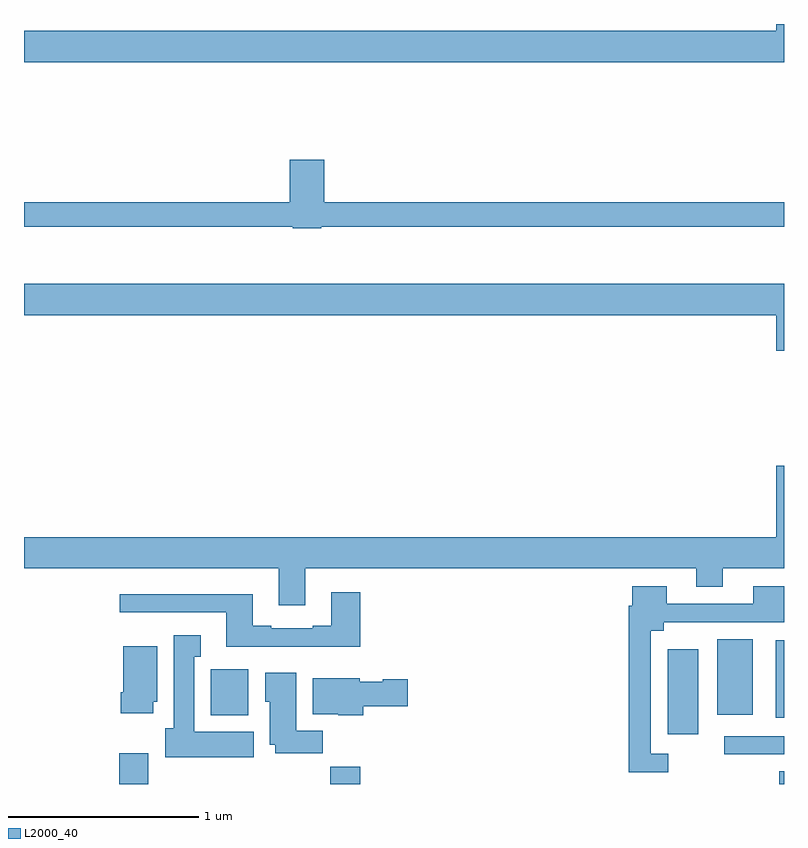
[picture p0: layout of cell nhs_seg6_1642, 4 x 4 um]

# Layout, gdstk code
import gdstk
lib = gdstk.Library(unit=1e-6, precision=1e-09)
def R(c, l, rs):  # rectangles x0, y0, x1, y1
    for r in rs: c.add(gdstk.rectangle(r[:2], r[2:], *l))
def P(c, l, *ps):  # polygons
    for p in ps: c.add(gdstk.Polygon(p, *l))
L2000_40 = (2000, 40)

nhs_seg6_1642 = lib.new_cell('nhs_seg6_1642')
R(nhs_seg6_1642, L2000_40, [(209.501,979.5,209.653,979.663), (210.613,979.5,210.77,979.592), (212.975,979.5,213,979.567), (212.685,979.656,213,979.752), (212.387,979.761,212.548,980.209), (212.957,979.85,213,980.257), (209.984,979.862,210.181,980.104), (212.648,979.865,212.836,980.263)])
P(nhs_seg6_1642, L2000_40, [(213,983.5),(212.96,983.5),(212.96,983.464),(209,983.464),(209,983.3),(213,983.3)],
  [(210.564,982.434),(213,982.434),(213,982.562),(210.581,982.562),(210.581,982.786),(210.398,982.786),(210.398,982.562),(209,982.562),(209,982.434),(210.414,982.434),(210.414,982.426),(210.564,982.426)],
  [(213,982.132),(209,982.132),(209,981.968),(212.96,981.968),(212.96,981.78),(213,981.78)],
  [(210.481,980.636),(212.537,980.636),(212.537,980.537),(212.677,980.537),(212.677,980.636),(213,980.636),(213,981.175),(212.96,981.175),(212.96,980.8),(209,980.8),(209,980.636),(210.341,980.636),(210.341,980.442),(210.481,980.442)],
  [(212.392,979.659),(212.298,979.659),(212.298,980.306),(212.368,980.306),(212.368,980.352),(213,980.352),(213,980.542),(212.837,980.542),(212.837,980.448),(212.383,980.448),(212.383,980.542),(212.201,980.542),(212.201,980.438),(212.182,980.438),(212.182,979.563),(212.392,979.563)],
  [(210.77,980.509),(210.617,980.509),(210.617,980.332),(210.521,980.332),(210.521,980.319),(210.301,980.319),(210.301,980.332),(210.205,980.332),(210.205,980.5),(209.505,980.5),(209.505,980.403),(210.065,980.403),(210.065,980.222),(210.77,980.222)],
  [(210.208,979.774),(209.896,979.774),(209.896,980.171),(209.929,980.171),(209.929,980.284),(209.789,980.284),(209.789,979.794),(209.744,979.794),(209.744,979.64),(210.208,979.64)],
  [(209.68,979.932),(209.701,979.932),(209.701,980.224),(209.522,980.224),(209.522,979.984),(209.51,979.984),(209.51,979.872),(209.68,979.872)],
  [(210.572,979.78),(210.433,979.78),(210.433,980.086),(210.269,980.086),(210.269,979.932),(210.293,979.932),(210.293,979.706),(210.323,979.706),(210.323,979.662),(210.572,979.662)],
  [(210.785,979.909),(211.021,979.909),(211.021,980.051),(210.888,980.051),(210.888,980.038),(210.768,980.038),(210.768,980.056),(210.521,980.056),(210.521,979.868),(210.654,979.868),(210.654,979.862),(210.785,979.862)])

lib.write_gds('nhs_seg6_1642.gds')
